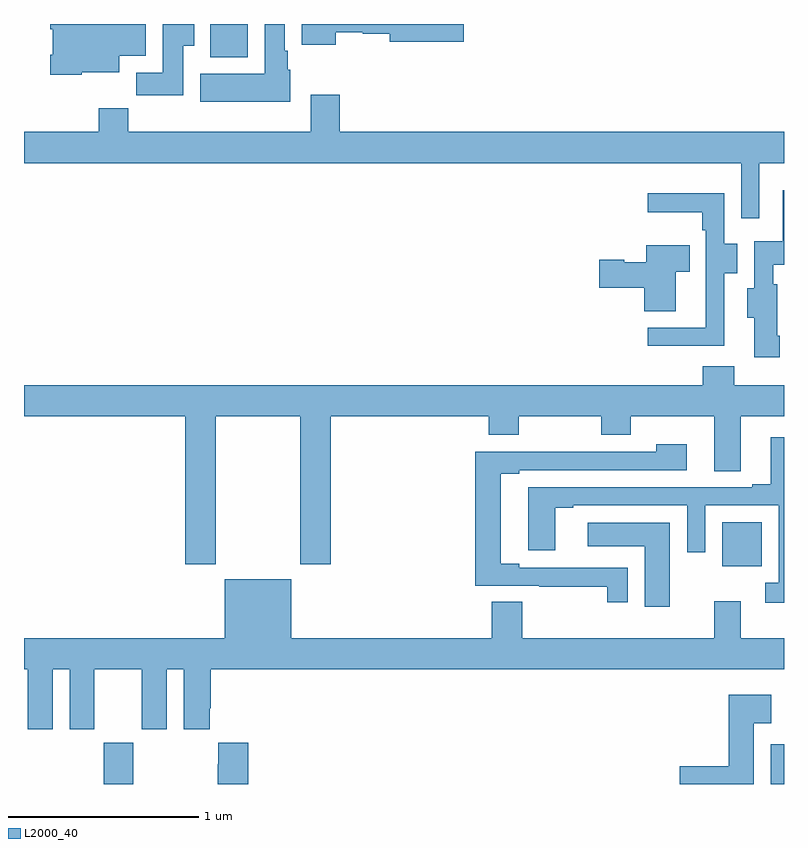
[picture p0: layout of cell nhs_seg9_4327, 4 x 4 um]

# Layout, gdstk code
import gdstk
lib = gdstk.Library(unit=1e-6, precision=1e-09)
def R(c, l, rs):  # rectangles x0, y0, x1, y1
    for r in rs: c.add(gdstk.rectangle(r[:2], r[2:], *l))
def P(c, l, *ps):  # polygons
    for p in ps: c.add(gdstk.Polygon(p, *l))
L2000_40 = (2000, 40)

nhs_seg9_4327 = lib.new_cell('nhs_seg9_4327')
R(nhs_seg9_4327, L2000_40, [(359.419,1178.5,359.574,1178.716), (362.93,1178.5,363,1178.71), (362.675,1179.647,362.884,1179.877), (359.981,1182.326,360.178,1182.5)])
P(nhs_seg9_4327, L2000_40, [(359.839,1182.385),(359.896,1182.385),(359.896,1182.5),(359.729,1182.5),(359.729,1182.244),(359.59,1182.244),(359.59,1182.126),(359.839,1182.126)],
  [(360.64,1182.456),(360.783,1182.456),(360.783,1182.448),(360.926,1182.448),(360.926,1182.406),(361.315,1182.406),(361.315,1182.5),(360.461,1182.5),(360.461,1182.392),(360.64,1182.392)],
  [(359.304,1182.245),(359.5,1182.245),(359.5,1182.332),(359.641,1182.332),(359.641,1182.5),(359.138,1182.5),(359.138,1182.473),(359.15,1182.473),(359.15,1182.337),(359.138,1182.337),(359.138,1182.233),(359.304,1182.233)],
  [(360.4,1182.258),(360.388,1182.258),(360.388,1182.358),(360.373,1182.358),(360.373,1182.5),(360.266,1182.5),(360.266,1182.238),(359.927,1182.238),(359.927,1182.092),(360.4,1182.092)],
  [(362.871,1181.768),(363,1181.768),(363,1181.932),(360.662,1181.932),(360.662,1182.127),(360.509,1182.127),(360.509,1181.932),(359.549,1181.932),(359.549,1182.056),(359.393,1182.056),(359.393,1181.932),(359,1181.932),(359,1181.768),(362.775,1181.768),(362.775,1181.478),(362.871,1181.478)],
  [(362.977,1180.858),(362.965,1180.858),(362.965,1181.13),(362.943,1181.13),(362.943,1181.234),(363,1181.234),(363,1181.626),(362.994,1181.626),(362.994,1181.356),(362.844,1181.356),(362.844,1181.109),(362.807,1181.109),(362.807,1180.954),(362.843,1180.954),(362.843,1180.746),(362.977,1180.746)],
  [(362.685,1181.188),(362.755,1181.188),(362.755,1181.343),(362.685,1181.343),(362.685,1181.608),(362.283,1181.608),(362.283,1181.51),(362.569,1181.51),(362.569,1181.414),(362.589,1181.414),(362.589,1181.099),(362.588,1181.099),(362.588,1180.902),(362.283,1180.902),(362.283,1180.806),(362.685,1180.806)],
  [(362.431,1181.195),(362.504,1181.195),(362.504,1181.335),(362.276,1181.335),(362.276,1181.245),(362.16,1181.245),(362.16,1181.258),(362.028,1181.258),(362.028,1181.111),(362.264,1181.111),(362.264,1180.987),(362.431,1180.987)],
  [(360.009,1180.436),(360.454,1180.436),(360.454,1179.657),(360.614,1179.657),(360.614,1180.436),(361.445,1180.436),(361.445,1180.337),(361.605,1180.337),(361.605,1180.436),(362.038,1180.436),(362.038,1180.337),(362.193,1180.337),(362.193,1180.436),(362.633,1180.436),(362.633,1180.147),(362.773,1180.147),(362.773,1180.436),(363,1180.436),(363,1180.6),(362.738,1180.6),(362.738,1180.699),(362.573,1180.699),(362.573,1180.6),(359,1180.6),(359,1180.436),(359.849,1180.436),(359.849,1179.657),(360.009,1179.657)],
  [(363,1180.324),(362.93,1180.324),(362.93,1180.077),(362.834,1180.077),(362.834,1180.062),(361.655,1180.062),(361.655,1179.729),(361.795,1179.729),(361.795,1179.954),(361.891,1179.954),(361.891,1179.966),(362.49,1179.966),(362.49,1179.72),(362.586,1179.72),(362.586,1179.966),(362.973,1179.966),(362.973,1179.558),(362.901,1179.558),(362.901,1179.453),(363,1179.453)],
  [(362.178,1179.639),(361.606,1179.639),(361.606,1179.659),(361.51,1179.659),(361.51,1180.132),(361.606,1180.132),(361.606,1180.152),(362.488,1180.152),(362.488,1180.288),(362.327,1180.288),(362.327,1180.248),(361.949,1180.248),(361.949,1180.25),(361.693,1180.25),(361.693,1180.248),(361.376,1180.248),(361.376,1179.543),(361.711,1179.543),(361.711,1179.538),(362.07,1179.538),(362.07,1179.456),(362.178,1179.456)],
  [(362.398,1179.874),(361.968,1179.874),(361.968,1179.752),(362.267,1179.752),(362.267,1179.432),(362.398,1179.432)],
  [(359.152,1179.104),(359.24,1179.104),(359.24,1178.787),(359.371,1178.787),(359.371,1179.104),(359.621,1179.104),(359.621,1178.787),(359.752,1178.787),(359.752,1179.104),(359.84,1179.104),(359.84,1178.787),(359.977,1178.787),(359.977,1178.899),(359.984,1178.899),(359.984,1179.104),(363,1179.104),(363,1179.268),(362.773,1179.268),(362.773,1179.463),(362.633,1179.463),(362.633,1179.268),(361.623,1179.268),(361.623,1179.458),(361.463,1179.458),(361.463,1179.268),(360.406,1179.268),(360.406,1179.577),(360.056,1179.577),(360.056,1179.268),(359,1179.268),(359,1179.104),(359.021,1179.104),(359.021,1178.787),(359.152,1178.787)],
  [(362.842,1178.819),(362.932,1178.819),(362.932,1178.971),(362.708,1178.971),(362.708,1178.594),(362.451,1178.594),(362.451,1178.5),(362.842,1178.5)],
  [(360.179,1178.716),(360.023,1178.716),(360.023,1178.603),(360.019,1178.603),(360.019,1178.5),(360.179,1178.5)])

lib.write_gds('nhs_seg9_4327.gds')
